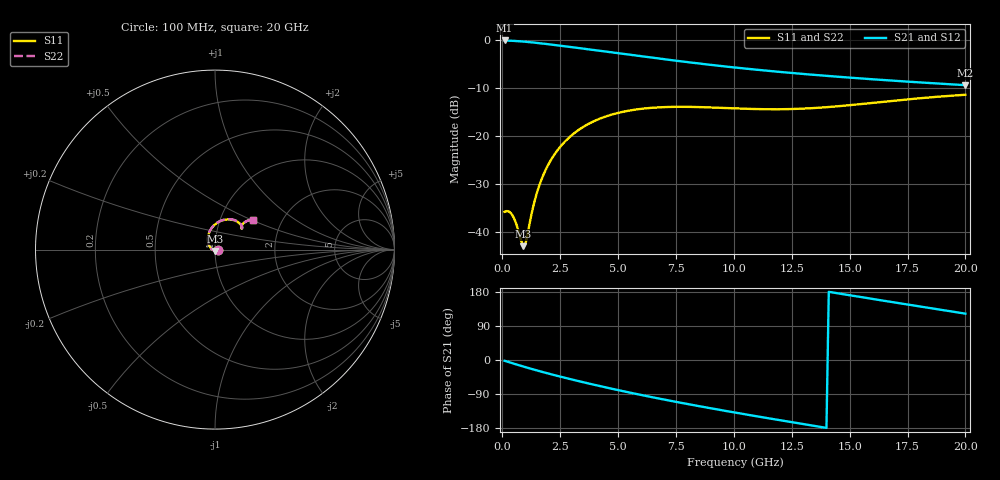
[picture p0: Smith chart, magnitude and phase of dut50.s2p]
! Touchstone file exported from HFSS 2024.1.0
!  File:  C:/UserFiles/LocalFiles/RDL_TSV_Batchsim/temp_RDL_TSV_50_1779406770.aedt
!  Generated:  07:52:57 AM May 22, 2026
!  Design:  RDL_TSV
!  Project:  temp_RDL_TSV_50_1779406770
!  Setup:  Setup1
!  Solution:  Sweep
! Variables:
!  dtsv = 13.52um
!  hbump = 3um
!  htsv = 59.64um
!  ldown = 474.04um
!  lrdl = 566.34um
!  p = 40
!  p1 = 40.6um
!  rhole = 10um
!  subl = 3687.48um
!  t = 450um
!  tdown = 3.41um
!  trdl = 3.94um
!  viad = 10um
!  wdown = 20.99um
!  wrdl = 23.79um
!  xbump = 18um
# GHz S MA R 50.000000
! Terminal data exported
! Port[1] = TM1_1_T1
! Port[2] = TM1_4_T1
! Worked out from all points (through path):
!   200 points, 100 MHz to 20 GHz, reference 50 ohm
!   highest |S21| = -0.15 dB at 100 MHz (marker M1); lowest = -9.5 dB at 20 GHz (marker M2)
!   group delay of S21, straight-line fit = 31.5 ps
!   lowest |S11| = -43.0 dB at 900 MHz (marker M3), VSWR 1.01, Z = 49.9 - j0.699 ohm
!   |S11| at or under -10 dB: start of sweep to end of sweep
!   |S22| runs from -43.0 to -11.4 dB; largest |S21 - S12| = 1.1e-14
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0.1  0.01609 -1.6  0.9833 -2.0  0.9833 -2.0  0.01609 -1.6
! Gamma 0 0 0 0
! Port Impedance 50 0 50 0
0.3  0.01615 -11.5  0.9789 -5.9  0.9789 -5.9  0.01615 -11.5
0.5  0.0139 -26.8  0.9731 -9.7  0.9731 -9.7  0.01389 -26.9
0.6  0.01212 -36.8  0.9697 -11.6  0.9697 -11.6  0.0121 -36.9
0.9  0.007049 -96.5  0.9578 -17.1  0.9578 -17.1  0.007056 -97.1
1  0.007465 -129.6  0.9532 -18.9  0.9532 -18.9  0.007512 -130.1
1.3  0.01676 174.9  0.9379 -24.2  0.9379 -24.2  0.0169 174.8
1.5  0.02561 159.4  0.9269 -27.6  0.9269 -27.6  0.0258 159.5
1.7  0.03528 148.8  0.9153 -31.0  0.9153 -31.0  0.03552 148.8
1.9  0.04541 140.3  0.9035 -34.3  0.9035 -34.3  0.0457 140.4
2.2  0.06096 129.8  0.8855 -39.1  0.8855 -39.1  0.06134 129.9
2.6  0.08156 118.2  0.8614 -45.4  0.8614 -45.4  0.08206 118.4
3.5  0.1236 97.7  0.8082 -58.7  0.8082 -58.7  0.1244 97.8
4.2  0.1501 85.0  0.7683 -68.6  0.7683 -68.6  0.1511 85.2
5  0.1727 73.1  0.7246 -79.5  0.7246 -79.5  0.1741 73.3
6.8  0.1976 53.6  0.6354 -102.2  0.6354 -102.2  0.1994 53.8
8.4  0.199 43.3  0.5691 -120.7  0.5691 -120.7  0.2012 43.5
10.1  0.1923 38.5  0.512 -139.2  0.512 -139.2  0.1947 38.6
11.7  0.1885 38.5  0.469 -155.9  0.469 -155.9  0.1909 38.5
13.4  0.1938 40.8  0.4318 -173.2  0.4318 -173.2  0.1961 40.7
16.7  0.2287 42.6  0.3769 154.2  0.3769 154.2  0.2308 42.4
20  0.2669 37.8  0.3364 122.3  0.3364 122.3  0.2692 37.6
